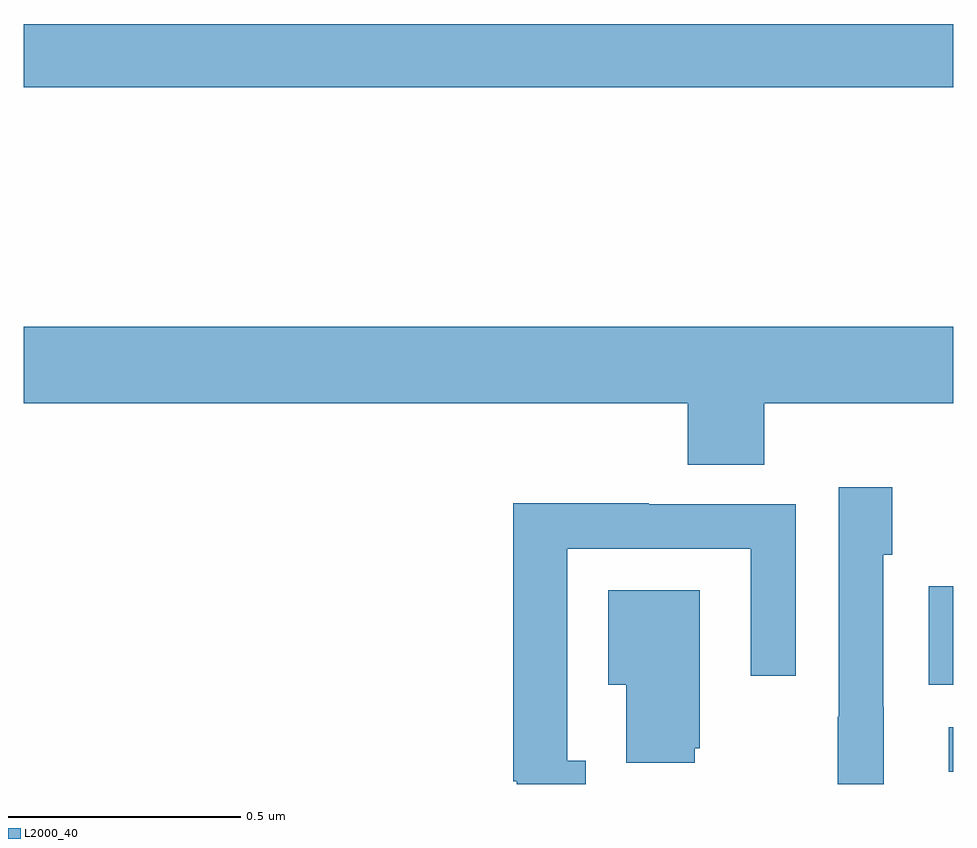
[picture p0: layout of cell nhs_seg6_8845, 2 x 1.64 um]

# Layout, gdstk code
import gdstk
lib = gdstk.Library(unit=1e-6, precision=1e-09)
def R(c, l, rs):  # rectangles x0, y0, x1, y1
    for r in rs: c.add(gdstk.rectangle(r[:2], r[2:], *l))
def P(c, l, *ps):  # polygons
    for p in ps: c.add(gdstk.Polygon(p, *l))
L2000_40 = (2000, 40)

nhs_seg6_8845 = lib.new_cell('nhs_seg6_8845')
R(nhs_seg6_8845, L2000_40, [(227.991,962.526,228,962.622), (227.948,962.714,228,962.926), (226,964,228,964.136)])
P(nhs_seg6_8845, L2000_40, [(227.594,963.32),(228,963.32),(228,963.484),(226,963.484),(226,963.32),(227.429,963.32),(227.429,963.187),(227.594,963.187)],
  [(227.851,962.666),(227.85,962.666),(227.85,962.994),(227.869,962.994),(227.869,963.139),(227.754,963.139),(227.754,962.645),(227.752,962.645),(227.752,962.5),(227.851,962.5)],
  [(227.209,962.55),(227.169,962.55),(227.169,963.006),(227.565,963.006),(227.565,962.733),(227.661,962.733),(227.661,963.102),(227.345,963.102),(227.345,963.104),(227.053,963.104),(227.053,962.506),(227.061,962.506),(227.061,962.5),(227.209,962.5)],
  [(227.444,962.577),(227.455,962.577),(227.455,962.917),(227.258,962.917),(227.258,962.714),(227.297,962.714),(227.297,962.546),(227.444,962.546)])

lib.write_gds('nhs_seg6_8845.gds')
